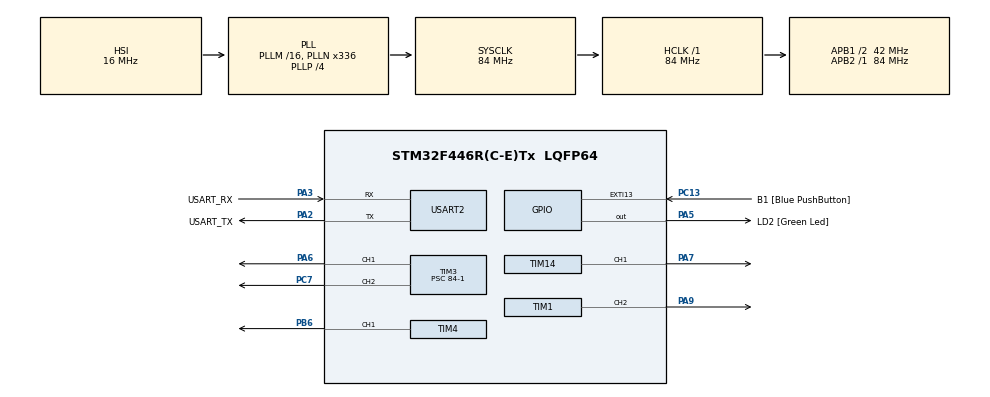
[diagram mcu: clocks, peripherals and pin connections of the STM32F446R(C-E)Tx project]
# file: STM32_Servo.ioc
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Mcu.Family=STM32F4
Mcu.Name=STM32F446R(C-E)Tx
Mcu.Package=LQFP64
NVIC.PriorityGroup=NVIC_PRIORITYGROUP_0
NVIC.USART2_IRQn=true\:0\:0\:false\:false\:true\:true\:true\:true
PA13.GPIO_Label=TMS
PA13.Mode=Serial_Wire
PA13.Signal=SYS_JTMS-SWDIO
PA14.GPIO_Label=TCK
PA14.Mode=Serial_Wire
PA14.Signal=SYS_JTCK-SWCLK
PA2.GPIO_Label=USART_TX
PA2.Mode=Asynchronous
PA2.Signal=USART2_TX
PA3.GPIO_Label=USART_RX
PA3.Mode=Asynchronous
PA3.Signal=USART2_RX
PA5.GPIO_Label=LD2 [Green Led]
PA5.Signal=GPIO_Output
PA6.Signal=S_TIM3_CH1
PA7.Signal=S_TIM14_CH1
PA9.Signal=S_TIM1_CH2
PB3.GPIO_Label=SWO
PB3.Signal=SYS_JTDO-SWO
PB6.Signal=S_TIM4_CH1
PC13.GPIO_Label=B1 [Blue PushButton]
PC13.GPIO_ModeDefaultEXTI=GPIO_MODE_IT_FALLING
PC13.Signal=GPXTI13
PC14-OSC32_IN.Mode=LSE-External-Oscillator
PC14-OSC32_IN.Signal=RCC_OSC32_IN
PC15-OSC32_OUT.Mode=LSE-External-Oscillator
PC15-OSC32_OUT.Signal=RCC_OSC32_OUT
PC7.Signal=S_TIM3_CH2
PH0-OSC_IN.Mode=HSE-External-Oscillator
PH0-OSC_IN.Signal=RCC_OSC_IN
PH1-OSC_OUT.Mode=HSE-External-Oscillator
PH1-OSC_OUT.Signal=RCC_OSC_OUT
ProjectManager.HeapSize=0x200
ProjectManager.StackSize=0x400
ProjectManager.TargetToolchain=STM32CubeIDE
RCC.48MHZClocksFreq_Value=84000000
RCC.AHBFreq_Value=84000000
RCC.APB1CLKDivider=RCC_HCLK_DIV2
RCC.APB1Freq_Value=42000000
RCC.APB1TimFreq_Value=84000000
RCC.APB2Freq_Value=84000000
RCC.APB2TimFreq_Value=84000000
RCC.CortexFreq_Value=84000000
RCC.FLatency-AdvancedSettings=FLASH_LATENCY_2
RCC.HCLKFreq_Value=84000000
RCC.HSE_VALUE=8000000
RCC.HSI_VALUE=16000000
RCC.PLLN=336
RCC.PLLP=RCC_PLLP_DIV4
RCC.SYSCLKFreq_VALUE=84000000
RCC.SYSCLKSource=RCC_SYSCLKSOURCE_PLLCLK
RCC.USBFreq_Value=168000000
RCC.VCOOutputFreq_Value=336000000
SH.S_TIM14_CH1.0=TIM14_CH1,PWM Generation1 CH1
SH.S_TIM1_CH2.0=TIM1_CH2,PWM Generation2 CH2
SH.S_TIM3_CH1.0=TIM3_CH1,PWM Generation1 CH1
SH.S_TIM3_CH2.0=TIM3_CH2,PWM Generation2 CH2
SH.S_TIM4_CH1.0=TIM4_CH1,PWM Generation1 CH1
TIM1.Channel-PWM\ Generation2\ CH2=TIM_CHANNEL_2
TIM1.Period=20000-1
TIM1.Prescaler=84-1
TIM14.Channel=TIM_CHANNEL_1
TIM14.Period=20000-1
TIM14.Prescaler=84-1
TIM3.Channel-PWM\ Generation1\ CH1=TIM_CHANNEL_1
TIM3.Channel-PWM\ Generation2\ CH2=TIM_CHANNEL_2
TIM3.Period=20000-1
TIM3.Prescaler=84-1
TIM4.Channel-PWM\ Generation1\ CH1=TIM_CHANNEL_1
TIM4.Period=20000-1
TIM4.Prescaler=84-1
USART2.VirtualMode=VM_ASYNC
VP_TIM14_VS_ClockSourceINT.Mode=Enable_Timer
board=NUCLEO-F446RE

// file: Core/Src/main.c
/* USER CODE BEGIN Header */
/**
  ******************************************************************************
  * @file           : main.c
  * @brief          : Main program body
  ******************************************************************************
  * @attention
  *
  * Copyright (c) 2025 STMicroelectronics.
  * All rights reserved.
  *
  * This software is licensed under terms that can be found in the LICENSE file
  * in the root directory of this software component.
  * If no LICENSE file comes with this software, it is provided AS-IS.
  *
  ******************************************************************************
  */
/* USER CODE END Header */
#include "main.h"

/* USER CODE BEGIN Includes */
#include "stdio.h"
#include "stdlib.h"
#include "string.h"

#include "servo.h"
/* USER CODE END Includes */

TIM_HandleTypeDef htim1;
TIM_HandleTypeDef htim3;
TIM_HandleTypeDef htim4;
TIM_HandleTypeDef htim14;

UART_HandleTypeDef huart2;

/* USER CODE BEGIN PV */
Servo_HandleTypeDef hservo1;
Servo_HandleTypeDef hservo2;
Servo_HandleTypeDef hservo3;
Servo_HandleTypeDef hservo4;
Servo_HandleTypeDef hservo5;

volatile uint8_t stage = 0;
volatile uint8_t timer_trig = 0;

#define HUART_RX huart2

#define RX_LINE_BUF_SZ 64

static uint8_t  rx_byte;                   // single-byte RX
static char rx_line[RX_LINE_BUF_SZ];   // line buffer
static uint16_t rx_len = 0;                // current length

volatile int last_result = 0;           // parsed integer
volatile int last_result_ready = 0; // flag when a new value arrives

/* USER CODE END PV */

void SystemClock_Config(void);
static void MX_GPIO_Init(void);
static void MX_USART2_UART_Init(void);
static void MX_TIM3_Init(void);
static void MX_TIM4_Init(void);
static void MX_TIM1_Init(void);
static void MX_TIM14_Init(void);
/* USER CODE BEGIN PFP */
void Servo_Init(Servo_HandleTypeDef* hservo, TIM_HandleTypeDef* htim, uint32_t channel, uint16_t min_us, uint16_t max_us);
void Servo_SetAngle(Servo_HandleTypeDef* hservo, uint8_t angle);
static void UART_Process_Byte(uint8_t b);
static void UART_Process_Line(const char *line);
/* USER CODE END PFP */

/* USER CODE BEGIN 0 */
void SetServoAngle(TIM_HandleTypeDef *htim, uint32_t channel, int16_t angle)
{
	int16_t pulse_length = 600 + (angle * (2510 - 600))/180;
	__HAL_TIM_SET_COMPARE(htim, channel, pulse_length);
}

static void UART_Process_Byte(uint8_t b) {
    if (b == '\n') {
        // Trim optional '\r'
        if (rx_len > 0 && rx_line[rx_len - 1] == '\r') {
            rx_line[rx_len - 1] = '\0';
        } else {
            rx_line[rx_len] = '\0';
        }
        UART_Process_Line(rx_line);
        rx_len = 0; // reset for next line
        return;
    }

    if (rx_len < (RX_LINE_BUF_SZ - 1)) {
        rx_line[rx_len++] = (char)b;
    } else {
        // Overflow: reset the line to avoid stale data
        rx_len = 0;
    }
}

static void UART_Process_Line(const char *line) {
    // Accept empty lines gracefully
    if (line == NULL || line[0] == '\0') return;

    // atoi: handles "0", "1", "123", etc.
    int val = atoi(line);

    last_result = val;
    last_result_ready = 1;
}

void HAL_UART_RxCpltCallback(UART_HandleTypeDef *huart) {
    if (huart == &HUART_RX) {
        UART_Process_Byte(rx_byte);
        // re-arm RX for next byte
        HAL_UART_Receive_IT(&HUART_RX, &rx_byte, 1);
    }
}

/* USER CODE END 0 */

int main(void)
{

  /* MCU Configuration--------------------------------------------------------*/

  /* Reset of all peripherals, Initializes the Flash interface and the Systick. */
  HAL_Init();

  /* Configure the system clock */
  SystemClock_Config();

  /* Initialize all configured peripherals */
  MX_GPIO_Init();
  MX_USART2_UART_Init();
  MX_TIM3_Init();
  MX_TIM4_Init();
  MX_TIM1_Init();
  MX_TIM14_Init();
  /* USER CODE BEGIN 2 */
  Servo_Init(&hservo1, &htim3, TIM_CHANNEL_1, 600, 2510);
  Servo_Init(&hservo2, &htim14, TIM_CHANNEL_1, 600, 2510);
  Servo_Init(&hservo3, &htim4, TIM_CHANNEL_1, 600, 2510);
  Servo_Init(&hservo4, &htim3, TIM_CHANNEL_2, 600, 2510);
  Servo_Init(&hservo5, &htim1, TIM_CHANNEL_2, 600, 2510);

  HAL_UART_Receive_IT(&HUART_RX, &rx_byte, 1);
  /* USER CODE END 2 */

  /* Infinite loop */
  /* USER CODE BEGIN WHILE */
  while (1)
  {
	  // Your main loop
	  if (last_result_ready) {
		  __disable_irq();
		  int value = last_result;
		  last_result_ready = 0;
		  __enable_irq();

		  // TODO: use the value (e.g., 0/1) in your app logic
		  // Example: toggle an LED when value == 1
		  if (value == 1) {
			  Servo_SetAngle(&hservo1, 180);
		  }
		  else {
			  Servo_SetAngle(&hservo1, 60);
		  }
	  }

//	  Servo_SetAngle(&hservo1, 60);
//	  HAL_Delay(2000);
//
//	  Servo_SetAngle(&hservo1, 180);
//	  HAL_Delay(2000);
//
//	  Servo_SetAngle(&hservo2, 60);
//	  HAL_Delay(2000);
//
//	  Servo_SetAngle(&hservo2, 180);
//	  HAL_Delay(2000);
//
//	  Servo_SetAngle(&hservo3, 60);
//	  HAL_Delay(2000);
//
//	  Servo_SetAngle(&hservo3, 180);
//	  HAL_Delay(2000);
//
//	  Servo_SetAngle(&hservo4, 60);
//	  HAL_Delay(2000);
//
//	  Servo_SetAngle(&hservo4, 180);
//	  HAL_Delay(2000);
//
//	  Servo_SetAngle(&hservo5, 60);
//	  HAL_Delay(2000);
//
//	  Servo_SetAngle(&hservo5, 180);
//	  HAL_Delay(2000);

    /* USER CODE END WHILE */

  }
}

void SystemClock_Config(void)
{
  RCC_OscInitTypeDef RCC_OscInitStruct = {0};
  RCC_ClkInitTypeDef RCC_ClkInitStruct = {0};

  /** Configure the main internal regulator output voltage
  */
  __HAL_RCC_PWR_CLK_ENABLE();
  __HAL_PWR_VOLTAGESCALING_CONFIG(PWR_REGULATOR_VOLTAGE_SCALE3);

  /** Initializes the RCC Oscillators according to the specified parameters
  * in the RCC_OscInitTypeDef structure.
  */
  RCC_OscInitStruct.OscillatorType = RCC_OSCILLATORTYPE_HSI;
  RCC_OscInitStruct.HSIState = RCC_HSI_ON;
  RCC_OscInitStruct.HSICalibrationValue = RCC_HSICALIBRATION_DEFAULT;
  RCC_OscInitStruct.PLL.PLLState = RCC_PLL_ON;
  RCC_OscInitStruct.PLL.PLLSource = RCC_PLLSOURCE_HSI;
  RCC_OscInitStruct.PLL.PLLM = 16;
  RCC_OscInitStruct.PLL.PLLN = 336;
  RCC_OscInitStruct.PLL.PLLP = RCC_PLLP_DIV4;
  RCC_OscInitStruct.PLL.PLLQ = 2;
  RCC_OscInitStruct.PLL.PLLR = 2;
  if (HAL_RCC_OscConfig(&RCC_OscInitStruct) != HAL_OK)
  {
    Error_Handler();
  }

  /** Initializes the CPU, AHB and APB buses clocks
  */
  RCC_ClkInitStruct.ClockType = RCC_CLOCKTYPE_HCLK|RCC_CLOCKTYPE_SYSCLK
                              |RCC_CLOCKTYPE_PCLK1|RCC_CLOCKTYPE_PCLK2;
  RCC_ClkInitStruct.SYSCLKSource = RCC_SYSCLKSOURCE_PLLCLK;
  RCC_ClkInitStruct.AHBCLKDivider = RCC_SYSCLK_DIV1;
  RCC_ClkInitStruct.APB1CLKDivider = RCC_HCLK_DIV2;
  RCC_ClkInitStruct.APB2CLKDivider = RCC_HCLK_DIV1;

  if (HAL_RCC_ClockConfig(&RCC_ClkInitStruct, FLASH_LATENCY_2) != HAL_OK)
  {
    Error_Handler();
  }
}

static void MX_TIM1_Init(void)
{

  TIM_MasterConfigTypeDef sMasterConfig = {0};
  TIM_OC_InitTypeDef sConfigOC = {0};
  TIM_BreakDeadTimeConfigTypeDef sBreakDeadTimeConfig = {0};

  htim1.Instance = TIM1;
  htim1.Init.Prescaler = 84-1;
  htim1.Init.CounterMode = TIM_COUNTERMODE_UP;
  htim1.Init.Period = 20000-1;
  htim1.Init.ClockDivision = TIM_CLOCKDIVISION_DIV1;
  htim1.Init.RepetitionCounter = 0;
  htim1.Init.AutoReloadPreload = TIM_AUTORELOAD_PRELOAD_DISABLE;
  if (HAL_TIM_PWM_Init(&htim1) != HAL_OK)
  {
    Error_Handler();
  }
  sMasterConfig.MasterOutputTrigger = TIM_TRGO_RESET;
  sMasterConfig.MasterSlaveMode = TIM_MASTERSLAVEMODE_DISABLE;
  if (HAL_TIMEx_MasterConfigSynchronization(&htim1, &sMasterConfig) != HAL_OK)
  {
    Error_Handler();
  }
  sConfigOC.OCMode = TIM_OCMODE_PWM1;
  sConfigOC.Pulse = 0;
  sConfigOC.OCPolarity = TIM_OCPOLARITY_HIGH;
  sConfigOC.OCNPolarity = TIM_OCNPOLARITY_HIGH;
  sConfigOC.OCFastMode = TIM_OCFAST_DISABLE;
  sConfigOC.OCIdleState = TIM_OCIDLESTATE_RESET;
  sConfigOC.OCNIdleState = TIM_OCNIDLESTATE_RESET;
  if (HAL_TIM_PWM_ConfigChannel(&htim1, &sConfigOC, TIM_CHANNEL_2) != HAL_OK)
  {
    Error_Handler();
  }
  sBreakDeadTimeConfig.OffStateRunMode = TIM_OSSR_DISABLE;
  sBreakDeadTimeConfig.OffStateIDLEMode = TIM_OSSI_DISABLE;
  sBreakDeadTimeConfig.LockLevel = TIM_LOCKLEVEL_OFF;
  sBreakDeadTimeConfig.DeadTime = 0;
  sBreakDeadTimeConfig.BreakState = TIM_BREAK_DISABLE;
  sBreakDeadTimeConfig.BreakPolarity = TIM_BREAKPOLARITY_HIGH;
  sBreakDeadTimeConfig.AutomaticOutput = TIM_AUTOMATICOUTPUT_DISABLE;
  if (HAL_TIMEx_ConfigBreakDeadTime(&htim1, &sBreakDeadTimeConfig) != HAL_OK)
  {
    Error_Handler();
  }
  HAL_TIM_MspPostInit(&htim1);

}

static void MX_TIM3_Init(void)
{

  TIM_MasterConfigTypeDef sMasterConfig = {0};
  TIM_OC_InitTypeDef sConfigOC = {0};

  htim3.Instance = TIM3;
  htim3.Init.Prescaler = 84-1;
  htim3.Init.CounterMode = TIM_COUNTERMODE_UP;
  htim3.Init.Period = 20000-1;
  htim3.Init.ClockDivision = TIM_CLOCKDIVISION_DIV1;
  htim3.Init.AutoReloadPreload = TIM_AUTORELOAD_PRELOAD_DISABLE;
  if (HAL_TIM_PWM_Init(&htim3) != HAL_OK)
  {
    Error_Handler();
  }
  sMasterConfig.MasterOutputTrigger = TIM_TRGO_RESET;
  sMasterConfig.MasterSlaveMode = TIM_MASTERSLAVEMODE_DISABLE;
  if (HAL_TIMEx_MasterConfigSynchronization(&htim3, &sMasterConfig) != HAL_OK)
  {
    Error_Handler();
  }
  sConfigOC.OCMode = TIM_OCMODE_PWM1;
  sConfigOC.Pulse = 0;
  sConfigOC.OCPolarity = TIM_OCPOLARITY_HIGH;
  sConfigOC.OCFastMode = TIM_OCFAST_DISABLE;
  if (HAL_TIM_PWM_ConfigChannel(&htim3, &sConfigOC, TIM_CHANNEL_1) != HAL_OK)
  {
    Error_Handler();
  }
  if (HAL_TIM_PWM_ConfigChannel(&htim3, &sConfigOC, TIM_CHANNEL_2) != HAL_OK)
  {
    Error_Handler();
  }
  HAL_TIM_MspPostInit(&htim3);

}

static void MX_TIM4_Init(void)
{

  TIM_MasterConfigTypeDef sMasterConfig = {0};
  TIM_OC_InitTypeDef sConfigOC = {0};

  htim4.Instance = TIM4;
  htim4.Init.Prescaler = 84-1;
  htim4.Init.CounterMode = TIM_COUNTERMODE_UP;
  htim4.Init.Period = 20000-1;
  htim4.Init.ClockDivision = TIM_CLOCKDIVISION_DIV1;
  htim4.Init.AutoReloadPreload = TIM_AUTORELOAD_PRELOAD_DISABLE;
  if (HAL_TIM_PWM_Init(&htim4) != HAL_OK)
  {
    Error_Handler();
  }
  sMasterConfig.MasterOutputTrigger = TIM_TRGO_RESET;
  sMasterConfig.MasterSlaveMode = TIM_MASTERSLAVEMODE_DISABLE;
  if (HAL_TIMEx_MasterConfigSynchronization(&htim4, &sMasterConfig) != HAL_OK)
  {
    Error_Handler();
  }
  sConfigOC.OCMode = TIM_OCMODE_PWM1;
  sConfigOC.Pulse = 0;
  sConfigOC.OCPolarity = TIM_OCPOLARITY_HIGH;
  sConfigOC.OCFastMode = TIM_OCFAST_DISABLE;
  if (HAL_TIM_PWM_ConfigChannel(&htim4, &sConfigOC, TIM_CHANNEL_1) != HAL_OK)
  {
    Error_Handler();
  }
  HAL_TIM_MspPostInit(&htim4);

}

static void MX_TIM14_Init(void)
{

  TIM_OC_InitTypeDef sConfigOC = {0};

  htim14.Instance = TIM14;
  htim14.Init.Prescaler = 84-1;
  htim14.Init.CounterMode = TIM_COUNTERMODE_UP;
  htim14.Init.Period = 20000-1;
  htim14.Init.ClockDivision = TIM_CLOCKDIVISION_DIV1;
  htim14.Init.AutoReloadPreload = TIM_AUTORELOAD_PRELOAD_DISABLE;
  if (HAL_TIM_Base_Init(&htim14) != HAL_OK)
  {
    Error_Handler();
  }
  if (HAL_TIM_PWM_Init(&htim14) != HAL_OK)
  {
    Error_Handler();
  }
  sConfigOC.OCMode = TIM_OCMODE_PWM1;
  sConfigOC.Pulse = 0;
  sConfigOC.OCPolarity = TIM_OCPOLARITY_HIGH;
  sConfigOC.OCFastMode = TIM_OCFAST_DISABLE;
  if (HAL_TIM_PWM_ConfigChannel(&htim14, &sConfigOC, TIM_CHANNEL_1) != HAL_OK)
  {
    Error_Handler();
  }
  HAL_TIM_MspPostInit(&htim14);

}

static void MX_USART2_UART_Init(void)
{

  huart2.Instance = USART2;
  huart2.Init.BaudRate = 115200;
  huart2.Init.WordLength = UART_WORDLENGTH_8B;
  huart2.Init.StopBits = UART_STOPBITS_1;
  huart2.Init.Parity = UART_PARITY_NONE;
  huart2.Init.Mode = UART_MODE_TX_RX;
  huart2.Init.HwFlowCtl = UART_HWCONTROL_NONE;
  huart2.Init.OverSampling = UART_OVERSAMPLING_16;
  if (HAL_UART_Init(&huart2) != HAL_OK)
  {
    Error_Handler();
  }

}

static void MX_GPIO_Init(void)
{
  GPIO_InitTypeDef GPIO_InitStruct = {0};

  /* GPIO Ports Clock Enable */
  __HAL_RCC_GPIOC_CLK_ENABLE();
  __HAL_RCC_GPIOH_CLK_ENABLE();
  __HAL_RCC_GPIOA_CLK_ENABLE();
  __HAL_RCC_GPIOB_CLK_ENABLE();

  /*Configure GPIO pin Output Level */
  HAL_GPIO_WritePin(LD2_GPIO_Port, LD2_Pin, GPIO_PIN_RESET);

  /*Configure GPIO pin : B1_Pin */
  GPIO_InitStruct.Pin = B1_Pin;
  GPIO_InitStruct.Mode = GPIO_MODE_IT_FALLING;
  GPIO_InitStruct.Pull = GPIO_NOPULL;
  HAL_GPIO_Init(B1_GPIO_Port, &GPIO_InitStruct);

  /*Configure GPIO pin : LD2_Pin */
  GPIO_InitStruct.Pin = LD2_Pin;
  GPIO_InitStruct.Mode = GPIO_MODE_OUTPUT_PP;
  GPIO_InitStruct.Pull = GPIO_NOPULL;
  GPIO_InitStruct.Speed = GPIO_SPEED_FREQ_LOW;
  HAL_GPIO_Init(LD2_GPIO_Port, &GPIO_InitStruct);

}

/* USER CODE BEGIN 4 */
void Servo_Init(Servo_HandleTypeDef* hservo, TIM_HandleTypeDef* htim, uint32_t channel, uint16_t min_us, uint16_t max_us)
{
    hservo->htim = htim;
    hservo->Channel = channel;
    hservo->MinPulse = min_us;
    hservo->MaxPulse = max_us;

    HAL_TIM_PWM_Start(htim, channel);  // Start PWM
}

void Servo_SetAngle(Servo_HandleTypeDef* hservo, uint8_t angle)
{
	int16_t pulse_length = hservo->MinPulse + (angle * (hservo->MaxPulse - hservo->MinPulse))/180;
	__HAL_TIM_SET_COMPARE(hservo->htim, hservo->Channel, pulse_length);
}
/* USER CODE END 4 */

void Error_Handler(void)
{
  __disable_irq();
  while (1)
  {
  }
}
